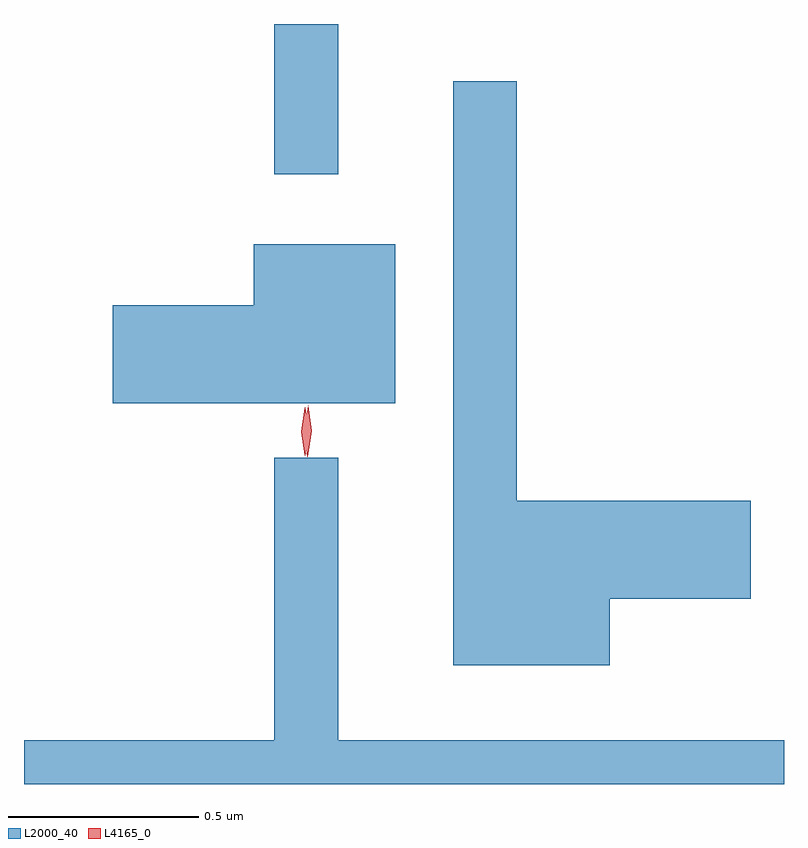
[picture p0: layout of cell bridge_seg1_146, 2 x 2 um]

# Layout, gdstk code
import gdstk
lib = gdstk.Library(unit=1e-6, precision=1e-09)
def R(c, l, rs):  # rectangles x0, y0, x1, y1
    for r in rs: c.add(gdstk.rectangle(r[:2], r[2:], *l))
def P(c, l, *ps):  # polygons
    for p in ps: c.add(gdstk.Polygon(p, *l))
L2000_40 = (2000, 40)
L4165_0 = (4165, 0)

bridge_seg1_146 = lib.new_cell('bridge_seg1_146')
R(bridge_seg1_146, L2000_40, [(963.491,939.073,963.659,939.469)])
P(bridge_seg1_146, L2000_40, [(964.374,937.956),(964.744,937.956),(964.744,938.214),(964.129,938.214),(964.129,939.318),(963.961,939.318),(963.961,937.781),(964.374,937.781)],
  [(963.809,938.889),(963.436,938.889),(963.436,938.729),(963.066,938.729),(963.066,938.471),(963.809,938.471)],
  [(964.832,937.584),(963.659,937.584),(963.659,938.328),(963.491,938.328),(963.491,937.584),(962.832,937.584),(962.832,937.469),(964.832,937.469)])
P(bridge_seg1_146, L4165_0, [(963.578,938.33),(963.578,938.33),(963.569,938.398),(963.58,938.465),(963.58,938.466),(963.58,938.465),(963.589,938.398),(963.579,938.33)],
  [(963.572,938.333),(963.571,938.334),(963.562,938.396),(963.571,938.459),(963.572,938.46),(963.572,938.459),(963.582,938.396),(963.572,938.334)])

lib.write_gds('bridge_seg1_146.gds')
